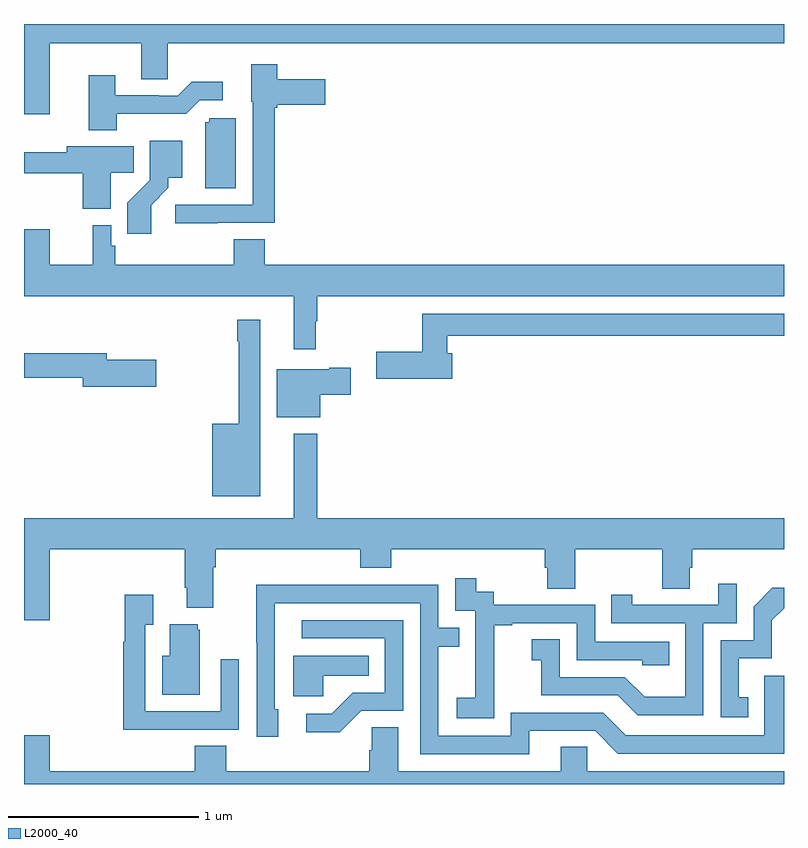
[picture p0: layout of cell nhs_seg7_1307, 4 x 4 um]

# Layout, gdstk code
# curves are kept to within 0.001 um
import gdstk
lib = gdstk.Library(unit=1e-6, precision=1e-09)
def P(c, l, *ps):  # polygons
    for p in ps: c.add(gdstk.Polygon(p, *l))
L2000_40 = (2000, 40)

nhs_seg7_1307 = lib.new_cell('nhs_seg7_1307')
P(nhs_seg7_1307, L2000_40, [(201.136,1049.9),(201.617,1049.9),(201.617,1049.71),(201.756,1049.71),(201.756,1049.9),(205,1049.9),(205,1050),(201,1050),(201,1049.526),(201.136,1049.526)],
  [(202.019,1048.953),(202.319,1048.953),(202.319,1049.558),(202.332,1049.558),(202.332,1049.576),(202.585,1049.576),(202.585,1049.71),(202.332,1049.71),(202.332,1049.788),(202.196,1049.788),(202.196,1049.592),(202.203,1049.592),(202.203,1049.049),(201.795,1049.049),(201.795,1048.951),(202.019,1048.951)],
  [(201.489,1049.528),(201.853,1049.528),(201.924,1049.598),(202.045,1049.598),(202.045,1049.695),(201.883,1049.695),(201.81,1049.622),(201.71,1049.622),(201.71,1049.625),(201.481,1049.625),(201.481,1049.731),(201.341,1049.731),(201.341,1049.441),(201.489,1049.441)],
  [(202.114,1049.505),(201.975,1049.505),(201.975,1049.484),(201.953,1049.484),(201.953,1049.136),(202.114,1049.136)],
  [(201.67,1049.047),(201.76,1049.137),(201.76,1049.192),(201.832,1049.192),(201.832,1049.386),(201.663,1049.386),(201.663,1049.177),(201.544,1049.058),(201.544,1048.896),(201.67,1048.896)],
  [(201.457,1049.218),(201.578,1049.218),(201.578,1049.356),(201.224,1049.356),(201.224,1049.324),(201,1049.324),(201,1049.214),(201.308,1049.214),(201.308,1049.027),(201.457,1049.027)],
  [(201.361,1048.942),(201.361,1048.732),(201.136,1048.732),(201.136,1048.921),(201,1048.921),(201,1048.568),(202.421,1048.568),(202.421,1048.287),(202.535,1048.287),(202.535,1048.436),(202.543,1048.436),(202.543,1048.568),(205,1048.568),(205,1048.732),(202.268,1048.732),(202.268,1048.868),(202.103,1048.868),(202.103,1048.732),(201.479,1048.732),(201.479,1048.833),(201.459,1048.833),(201.459,1048.942)],
  [(203.255,1048.267),(203.227,1048.267),(203.227,1048.36),(205,1048.36),(205,1048.476),(203.095,1048.476),(203.095,1048.275),(202.854,1048.275),(202.854,1048.133),(203.255,1048.133)],
  [(202.243,1048.444),(202.122,1048.444),(202.122,1048.331),(202.129,1048.331),(202.129,1047.895),(201.992,1047.895),(201.992,1047.515),(202.243,1047.515)],
  [(201.697,1048.233),(201.436,1048.233),(201.436,1048.267),(201,1048.267),(201,1048.138),(201.308,1048.138),(201.308,1048.091),(201.697,1048.091)],
  [(202.558,1048.049),(202.72,1048.049),(202.72,1048.191),(202.607,1048.191),(202.607,1048.183),(202.331,1048.183),(202.331,1047.929),(202.558,1047.929)],
  [(201.136,1047.236),(201.845,1047.236),(201.845,1047.034),(201.857,1047.034),(201.857,1046.927),(201.997,1046.927),(201.997,1047.14),(202.01,1047.14),(202.01,1047.236),(202.769,1047.236),(202.769,1047.137),(202.934,1047.137),(202.934,1047.236),(203.741,1047.236),(203.741,1047.138),(203.753,1047.138),(203.753,1047.028),(203.901,1047.028),(203.901,1047.236),(204.358,1047.236),(204.358,1047.028),(204.505,1047.028),(204.505,1047.138),(204.518,1047.138),(204.518,1047.236),(205,1047.236),(205,1047.4),(202.543,1047.4),(202.543,1047.844),(202.421,1047.844),(202.421,1047.4),(201,1047.4),(201,1046.862),(201.136,1046.862)],
  [(203.475,1046.551),(203.474,1046.551),(203.474,1046.835),(203.569,1046.835),(203.569,1046.847),(203.91,1046.847),(203.91,1046.652),(204.255,1046.652),(204.255,1046.625),(204.395,1046.625),(204.395,1046.748),(204.006,1046.748),(204.006,1046.943),(203.472,1046.943),(203.472,1047.012),(203.38,1047.012),(203.38,1047.082),(203.271,1047.082),(203.271,1046.913),(203.376,1046.913),(203.376,1046.684),(203.375,1046.684),(203.375,1046.455),(203.277,1046.455),(203.277,1046.345),(203.475,1046.345)],
  [(204.576,1046.847),(204.75,1046.847),(204.75,1047.055),(204.653,1047.055),(204.653,1046.943),(204.202,1046.943),(204.202,1046.995),(204.091,1046.995),(204.091,1046.847),(204.48,1046.847),(204.48,1046.458),(204.266,1046.458),(204.162,1046.562),(203.82,1046.562),(203.82,1046.761),(203.673,1046.761),(203.673,1046.651),(203.722,1046.651),(203.722,1046.466),(204.125,1046.466),(204.23,1046.361),(204.576,1046.361)],
  [(203.659,1046.28),(204.006,1046.28),(204.126,1046.16),(205,1046.16),(205,1046.571),(204.897,1046.571),(204.897,1046.256),(204.168,1046.256),(204.048,1046.376),(203.562,1046.376),(203.562,1046.253),(203.181,1046.253),(203.181,1046.722),(203.291,1046.722),(203.291,1046.823),(203.181,1046.823),(203.181,1047.048),(202.685,1047.048),(202.685,1047.05),(202.222,1047.05),(202.222,1046.743),(202.224,1046.743),(202.224,1046.25),(202.339,1046.25),(202.339,1046.394),(202.32,1046.394),(202.321,1046.952),(203.085,1046.952),(203.085,1046.157),(203.659,1046.157)],
  [(204.812,1046.457),(204.763,1046.457),(204.763,1046.661),(204.936,1046.661),(204.936,1046.862),(205,1046.926),(205,1047.032),(204.938,1047.032),(204.84,1046.934),(204.84,1046.757),(204.666,1046.757),(204.666,1046.352),(204.812,1046.352)],
  [(201.815,1046.286),(202.131,1046.286),(202.131,1046.656),(202.035,1046.656),(202.035,1046.382),(201.639,1046.382),(201.639,1046.839),(201.679,1046.839),(201.679,1046.995),(201.531,1046.995),(201.531,1046.75),(201.523,1046.75),(201.523,1046.285),(201.815,1046.285)],
  [(202.776,1046.385),(202.995,1046.385),(202.995,1046.862),(202.461,1046.862),(202.461,1046.766),(202.899,1046.766),(202.899,1046.481),(202.73,1046.481),(202.619,1046.37),(202.485,1046.37),(202.485,1046.273),(202.663,1046.273)],
  [(201.925,1046.811),(201.914,1046.811),(201.914,1046.842),(201.767,1046.842),(201.767,1046.674),(201.728,1046.674),(201.728,1046.471),(201.925,1046.471)],
  [(202.575,1046.57),(202.814,1046.57),(202.814,1046.674),(202.418,1046.674),(202.418,1046.462),(202.575,1046.462)],
  [(205,1046.068),(203.964,1046.068),(203.964,1046.195),(203.825,1046.195),(203.825,1046.068),(202.969,1046.068),(202.969,1046.3),(202.83,1046.3),(202.83,1046.177),(202.817,1046.177),(202.817,1046.068),(202.064,1046.068),(202.064,1046.201),(201.899,1046.201),(201.899,1046.068),(201.136,1046.068),(201.136,1046.257),(201,1046.257),(201,1046),(205,1046)])

lib.write_gds('nhs_seg7_1307.gds')
